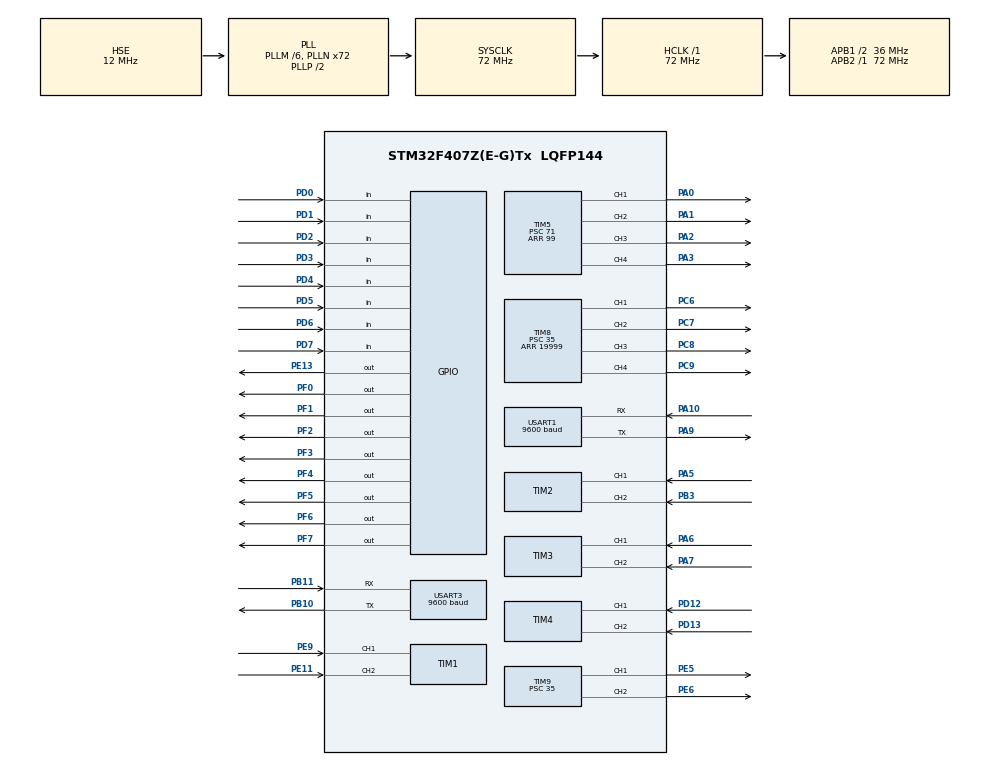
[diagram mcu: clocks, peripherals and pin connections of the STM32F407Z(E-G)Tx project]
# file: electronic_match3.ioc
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Dma.Request0=USART1_RX
Dma.Request1=USART1_TX
Dma.USART1_RX.0.Direction=DMA_PERIPH_TO_MEMORY
Dma.USART1_RX.0.FIFOMode=DMA_FIFOMODE_DISABLE
Dma.USART1_RX.0.Instance=DMA2_Stream2
Dma.USART1_RX.0.MemDataAlignment=DMA_MDATAALIGN_BYTE
Dma.USART1_RX.0.MemInc=DMA_MINC_ENABLE
Dma.USART1_RX.0.Mode=DMA_CIRCULAR
Dma.USART1_RX.0.PeriphDataAlignment=DMA_PDATAALIGN_BYTE
Dma.USART1_RX.0.PeriphInc=DMA_PINC_DISABLE
Dma.USART1_RX.0.Priority=DMA_PRIORITY_LOW
Dma.USART1_TX.1.Direction=DMA_MEMORY_TO_PERIPH
Dma.USART1_TX.1.FIFOMode=DMA_FIFOMODE_DISABLE
Dma.USART1_TX.1.Instance=DMA2_Stream7
Dma.USART1_TX.1.MemDataAlignment=DMA_MDATAALIGN_BYTE
Dma.USART1_TX.1.MemInc=DMA_MINC_ENABLE
Dma.USART1_TX.1.Mode=DMA_CIRCULAR
Dma.USART1_TX.1.PeriphDataAlignment=DMA_PDATAALIGN_BYTE
Dma.USART1_TX.1.PeriphInc=DMA_PINC_DISABLE
Dma.USART1_TX.1.Priority=DMA_PRIORITY_LOW
Mcu.Family=STM32F4
Mcu.Name=STM32F407Z(E-G)Tx
Mcu.Package=LQFP144
NVIC.DMA2_Stream2_IRQn=true\:1\:0\:true\:false\:true\:false\:true
NVIC.DMA2_Stream7_IRQn=true\:1\:0\:true\:false\:true\:false\:true
NVIC.PriorityGroup=NVIC_PRIORITYGROUP_4
NVIC.TIM7_IRQn=true\:0\:0\:false\:false\:true\:true\:true
NVIC.USART1_IRQn=true\:0\:0\:false\:false\:true\:true\:true
NVIC.USART3_IRQn=true\:0\:0\:false\:false\:true\:true\:true
PA0-WKUP.Signal=S_TIM5_CH1
PA1.Signal=S_TIM5_CH2
PA10.Mode=Asynchronous
PA10.Signal=USART1_RX
PA13.Mode=Serial_Wire
PA13.Signal=SYS_JTMS-SWDIO
PA14.Mode=Serial_Wire
PA14.Signal=SYS_JTCK-SWCLK
PA2.Signal=S_TIM5_CH3
PA3.Signal=S_TIM5_CH4
PA5.Signal=S_TIM2_CH1_ETR
PA6.Signal=S_TIM3_CH1
PA7.Signal=S_TIM3_CH2
PA9.Mode=Asynchronous
PA9.Signal=USART1_TX
PB10.Mode=Asynchronous
PB10.Signal=USART3_TX
PB11.Mode=Asynchronous
PB11.Signal=USART3_RX
PB3.Signal=S_TIM2_CH2
PC14-OSC32_IN.Mode=LSE-External-Oscillator
PC14-OSC32_IN.Signal=RCC_OSC32_IN
PC15-OSC32_OUT.Mode=LSE-External-Oscillator
PC15-OSC32_OUT.Signal=RCC_OSC32_OUT
PC6.Signal=S_TIM8_CH1
PC7.Signal=S_TIM8_CH2
PC8.Signal=S_TIM8_CH3
PC9.Signal=S_TIM8_CH4
PD0.GPIO_PuPd=GPIO_PULLDOWN
PD0.Signal=GPIO_Input
PD1.GPIO_PuPd=GPIO_PULLDOWN
PD1.Signal=GPIO_Input
PD12.Signal=S_TIM4_CH1
PD13.Signal=S_TIM4_CH2
PD2.GPIO_PuPd=GPIO_PULLDOWN
PD2.Signal=GPIO_Input
PD3.GPIO_PuPd=GPIO_PULLDOWN
PD3.Signal=GPIO_Input
PD4.GPIO_PuPd=GPIO_PULLDOWN
PD4.Signal=GPIO_Input
PD5.GPIO_PuPd=GPIO_PULLDOWN
PD5.Signal=GPIO_Input
PD6.GPIO_PuPd=GPIO_PULLDOWN
PD6.Signal=GPIO_Input
PD7.GPIO_PuPd=GPIO_PULLDOWN
PD7.Signal=GPIO_Input
PE11.Signal=S_TIM1_CH2
PE13.PinState=GPIO_PIN_RESET
PE13.Signal=GPIO_Output
PE5.Signal=S_TIM9_CH1
PE6.Signal=S_TIM9_CH2
PE9.Signal=S_TIM1_CH1
PF0.GPIO_PuPd=GPIO_PULLDOWN
PF0.Signal=GPIO_Output
PF1.GPIO_PuPd=GPIO_PULLDOWN
PF1.Signal=GPIO_Output
PF2.GPIO_PuPd=GPIO_PULLDOWN
PF2.Signal=GPIO_Output
PF3.GPIO_PuPd=GPIO_PULLDOWN
PF3.Signal=GPIO_Output
PF4.GPIO_PuPd=GPIO_PULLDOWN
PF4.Signal=GPIO_Output
PF5.GPIO_PuPd=GPIO_PULLDOWN
PF5.Signal=GPIO_Output
PF6.GPIO_PuPd=GPIO_PULLDOWN
PF6.Signal=GPIO_Output
PF7.GPIO_PuPd=GPIO_PULLDOWN
PF7.Signal=GPIO_Output
PH0-OSC_IN.Mode=HSE-External-Oscillator
PH0-OSC_IN.Signal=RCC_OSC_IN
PH1-OSC_OUT.Mode=HSE-External-Oscillator
PH1-OSC_OUT.Signal=RCC_OSC_OUT
ProjectManager.HeapSize=0x200
ProjectManager.StackSize=0x400
ProjectManager.TargetToolchain=MDK-ARM V5
RCC.48MHZClocksFreq_Value=36000000
RCC.AHBFreq_Value=72000000
RCC.APB1CLKDivider=RCC_HCLK_DIV2
RCC.APB1Freq_Value=36000000
RCC.APB1TimFreq_Value=72000000
RCC.APB2Freq_Value=72000000
RCC.APB2TimFreq_Value=72000000
RCC.CortexFreq_Value=72000000
RCC.HCLKFreq_Value=72000000
RCC.HSE_VALUE=12000000
RCC.HSI_VALUE=16000000
RCC.PLLM=6
RCC.PLLN=72
RCC.PLLSourceVirtual=RCC_PLLSOURCE_HSE
RCC.SYSCLKFreq_VALUE=72000000
RCC.SYSCLKSource=RCC_SYSCLKSOURCE_PLLCLK
RCC.VCOOutputFreq_Value=144000000
SH.S_TIM1_CH1.0=TIM1_CH1,Encoder_Interface
SH.S_TIM1_CH2.0=TIM1_CH2,Encoder_Interface
SH.S_TIM2_CH1_ETR.0=TIM2_CH1,Encoder_Interface
SH.S_TIM2_CH2.0=TIM2_CH2,Encoder_Interface
SH.S_TIM3_CH1.0=TIM3_CH1,Encoder_Interface
SH.S_TIM3_CH2.0=TIM3_CH2,Encoder_Interface
SH.S_TIM4_CH1.0=TIM4_CH1,Encoder_Interface
SH.S_TIM4_CH2.0=TIM4_CH2,Encoder_Interface
SH.S_TIM5_CH1.0=TIM5_CH1,PWM Generation1 CH1
SH.S_TIM5_CH2.0=TIM5_CH2,PWM Generation2 CH2
SH.S_TIM5_CH3.0=TIM5_CH3,PWM Generation3 CH3
SH.S_TIM5_CH4.0=TIM5_CH4,PWM Generation4 CH4
SH.S_TIM8_CH1.0=TIM8_CH1,PWM Generation1 CH1
SH.S_TIM8_CH2.0=TIM8_CH2,PWM Generation2 CH2
SH.S_TIM8_CH3.0=TIM8_CH3,PWM Generation3 CH3
SH.S_TIM8_CH4.0=TIM8_CH4,PWM Generation4 CH4
SH.S_TIM9_CH1.0=TIM9_CH1,PWM Generation1 CH1
SH.S_TIM9_CH2.0=TIM9_CH2,PWM Generation2 CH2
TIM1.EncoderMode=TIM_ENCODERMODE_TI12
TIM2.EncoderMode=TIM_ENCODERMODE_TI12
TIM3.EncoderMode=TIM_ENCODERMODE_TI12
TIM4.EncoderMode=TIM_ENCODERMODE_TI12
TIM5.Channel-PWM\ Generation1\ CH1=TIM_CHANNEL_1
TIM5.Channel-PWM\ Generation2\ CH2=TIM_CHANNEL_2
TIM5.Channel-PWM\ Generation3\ CH3=TIM_CHANNEL_3
TIM5.Channel-PWM\ Generation4\ CH4=TIM_CHANNEL_4
TIM5.Period=99
TIM5.Prescaler=71
TIM7.Period=4999
TIM7.Prescaler=71
TIM8.Channel-PWM\ Generation1\ CH1=TIM_CHANNEL_1
TIM8.Channel-PWM\ Generation2\ CH2=TIM_CHANNEL_2
TIM8.Channel-PWM\ Generation3\ CH3=TIM_CHANNEL_3
TIM8.Channel-PWM\ Generation4\ CH4=TIM_CHANNEL_4
TIM8.Period=19999
TIM8.Prescaler=35
TIM9.Channel-PWM\ Generation1\ CH1=TIM_CHANNEL_1
TIM9.Channel-PWM\ Generation2\ CH2=TIM_CHANNEL_2
TIM9.Period=19999
TIM9.Prescaler=35
USART1.BaudRate=9600
USART1.VirtualMode=VM_ASYNC
USART3.BaudRate=9600
USART3.VirtualMode=VM_ASYNC
VP_TIM7_VS_ClockSourceINT.Mode=Enable_Timer
VP_TIM9_VS_ClockSourceINT.Mode=Internal
board=custom

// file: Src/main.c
/* USER CODE BEGIN Header */
/**
  ******************************************************************************
  * @file           : main.c
  * @brief          : Main program body
  ******************************************************************************
  * @attention
  *
  * Copyright (c) 2022 STMicroelectronics.
  * All rights reserved.
  *
  * This software is licensed under terms that can be found in the LICENSE file
  * in the root directory of this software component.
  * If no LICENSE file comes with this software, it is provided AS-IS.
  *
  ******************************************************************************
  */
/* USER CODE END Header */
#include "main.h"
#include "dma.h"
#include "tim.h"
#include "usart.h"
#include "gpio.h"

/* USER CODE BEGIN Includes */
#include "encoder.h"
#include "chassis.h"
#include "pid.h"
#include "joint.h"
#include "settlement.h"
#include "mode.h"
#include "communication.h"
/* USER CODE END Includes */

/* USER CODE BEGIN PV */
extern uint8_t buffer[3];
extern unsigned short as[3];
extern uint8_t bufferMV[3];
extern unsigned short bs[3];

/* USER CODE END PV */

void SystemClock_Config(void);

/* USER CODE BEGIN 0 */
 void HAL_UART_RxCpltCallback(UART_HandleTypeDef *huart)
 {
	 if(huart==&huart1)
	 {
		 as[0]=buffer[1];

	 }
	 if(huart==&huart3)
	 {
     bs[0]=bufferMV[1];
	 }
	 HAL_UART_Receive_IT(&huart1,buffer,3);
	 HAL_UART_Receive_IT(&huart3,bufferMV,3);

 }
/* USER CODE END 0 */

int main(void)
{

  /* MCU Configuration--------------------------------------------------------*/

  /* Reset of all peripherals, Initializes the Flash interface and the Systick. */
  HAL_Init();

  /* Configure the system clock */
  SystemClock_Config();

  /* Initialize all configured peripherals */
  MX_GPIO_Init();
  MX_TIM1_Init();
  MX_TIM2_Init();
  MX_TIM3_Init();
  MX_TIM4_Init();
  MX_TIM5_Init();
  MX_TIM7_Init();
  MX_TIM8_Init();
  MX_TIM9_Init();
  MX_USART1_UART_Init();
  MX_DMA_Init();
  MX_USART3_UART_Init();
  /* USER CODE BEGIN 2 */
  Encoder_Init();
	HAL_TIM_Base_Start_IT(&htim7);
	Chassis_Init();
	ALL_Pid_Init();
	Joint_Init();
	Joint_time_Init();
	Joint_Time_Sum();
  Settlement_Flag_Init();
	Settlement_Flag_Init2();
	Settlement_Flag_Init3();
	HAL_UART_Receive_IT(&huart1,buffer,3);
	HAL_UART_Receive_IT(&huart3,bufferMV,3);

	//Communication_Init();
  /* USER CODE END 2 */

  /* Infinite loop */
  /* USER CODE BEGIN WHILE */
  while (1)
  {

		Communication_Judge_Nano();

    /* USER CODE END WHILE */

  }
}

void SystemClock_Config(void)
{
  RCC_OscInitTypeDef RCC_OscInitStruct = {0};
  RCC_ClkInitTypeDef RCC_ClkInitStruct = {0};

  /** Configure the main internal regulator output voltage
  */
  __HAL_RCC_PWR_CLK_ENABLE();
  __HAL_PWR_VOLTAGESCALING_CONFIG(PWR_REGULATOR_VOLTAGE_SCALE1);
  /** Initializes the RCC Oscillators according to the specified parameters
  * in the RCC_OscInitTypeDef structure.
  */
  RCC_OscInitStruct.OscillatorType = RCC_OSCILLATORTYPE_HSE;
  RCC_OscInitStruct.HSEState = RCC_HSE_ON;
  RCC_OscInitStruct.PLL.PLLState = RCC_PLL_ON;
  RCC_OscInitStruct.PLL.PLLSource = RCC_PLLSOURCE_HSE;
  RCC_OscInitStruct.PLL.PLLM = 6;
  RCC_OscInitStruct.PLL.PLLN = 72;
  RCC_OscInitStruct.PLL.PLLP = RCC_PLLP_DIV2;
  RCC_OscInitStruct.PLL.PLLQ = 4;
  if (HAL_RCC_OscConfig(&RCC_OscInitStruct) != HAL_OK)
  {
    Error_Handler();
  }
  /** Initializes the CPU, AHB and APB buses clocks
  */
  RCC_ClkInitStruct.ClockType = RCC_CLOCKTYPE_HCLK|RCC_CLOCKTYPE_SYSCLK
                              |RCC_CLOCKTYPE_PCLK1|RCC_CLOCKTYPE_PCLK2;
  RCC_ClkInitStruct.SYSCLKSource = RCC_SYSCLKSOURCE_PLLCLK;
  RCC_ClkInitStruct.AHBCLKDivider = RCC_SYSCLK_DIV1;
  RCC_ClkInitStruct.APB1CLKDivider = RCC_HCLK_DIV2;
  RCC_ClkInitStruct.APB2CLKDivider = RCC_HCLK_DIV1;

  if (HAL_RCC_ClockConfig(&RCC_ClkInitStruct, FLASH_LATENCY_2) != HAL_OK)
  {
    Error_Handler();
  }
}

void Error_Handler(void)
{
  __disable_irq();
  while (1)
  {
  }
}
